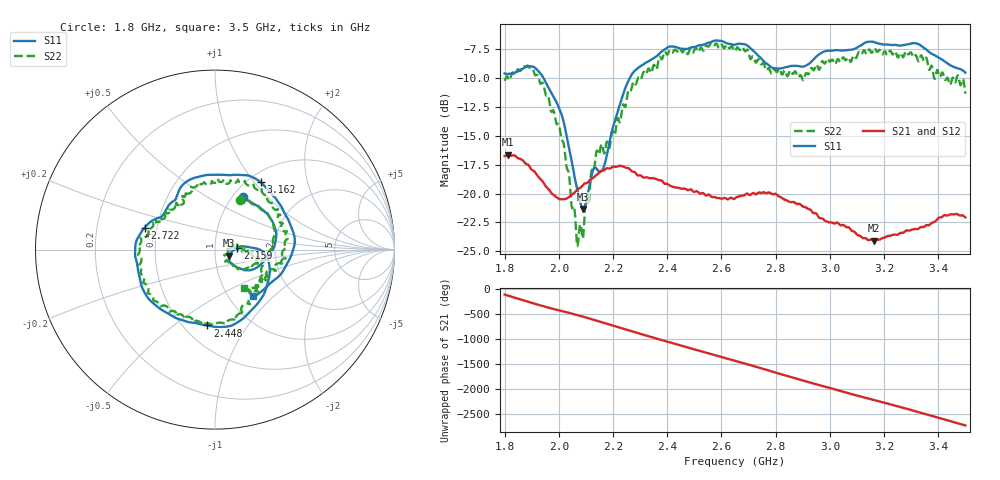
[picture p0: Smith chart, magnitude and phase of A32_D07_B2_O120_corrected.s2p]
! Created with skrf 1.9.0 (http://scikit-rf.org).
# Hz S RI R 50.0
!freq ReS11 ImS11 ReS21 ImS21 ReS12 ImS12 ReS22 ImS22
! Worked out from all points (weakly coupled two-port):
!   1601 points, 1.8 GHz to 3.5 GHz, reference 50 ohm
!   highest |S21| = -16.64 dB at 1.812 GHz (marker M1); lowest = -24.1 dB at 3.162 GHz (marker M2)
!   lowest |S11| = -21.3 dB at 2.09 GHz (marker M3), VSWR 1.19, Z = 58.5 - j3.92 ohm
!   |S11| at or under -10 dB: 1.944 GHz to 2.261 GHz (317.7 MHz wide, 15.1 % of centre)
!   |S22| runs from -24.6 to -7.0 dB; largest |S21 - S12| = 0.0027
!   S11 on the Smith chart (normalised r, x): 1.8 GHz: 1.12, +0.73; 2.159 GHz: 1.29, +0.02; 2.448 GHz: 0.65, -0.67; 2.722 GHz: 0.43, +0.13; 3.162 GHz: 1.14, +1.08; 3.5 GHz: 1.28, -0.75
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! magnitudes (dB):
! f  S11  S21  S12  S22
! 1.8 GHz  -9.6  -16.8  -16.8  -10.2
! 1.812 GHz  -9.6  -16.6  -16.6  -9.9
! 1.883 GHz  -9.0  -17.5  -17.5  -8.9
! 1.941 GHz  -9.9  -19.0  -19.0  -10.4
! 2.011 GHz  -13.2  -20.5  -20.5  -15.4
! 2.066 GHz  -19.4  -19.7  -19.7  -24.1
! 2.084 GHz  -21.1  -19.4  -19.4  -23.1
! 2.09 GHz  -21.3  -19.2  -19.3  -23.7
! 2.127 GHz  -17.9  -18.6  -18.6  -18.1
! 2.159 GHz  -18.0  -18.0  -18.0  -15.7
! 2.188 GHz  -15.4  -17.8  -17.8  -16.0
! 2.258 GHz  -10.2  -17.8  -17.8  -11.0
! 2.367 GHz  -8.0  -18.8  -18.8  -8.5
! 2.448 GHz  -7.4  -19.6  -19.6  -7.4
! 2.65 GHz  -7.1  -20.4  -20.4  -7.7
! 2.722 GHz  -7.7  -20.0  -19.9  -8.4
! 2.796 GHz  -9.1  -20.0  -20.0  -9.2
! 2.934 GHz  -8.5  -21.6  -21.5  -9.1
! 3.162 GHz  -6.9  -24.1  -24.0  -7.5
! 3.217 GHz  -7.1  -23.7  -23.6  -7.8
! 3.324 GHz  -7.0  -23.1  -23.0  -8.4
! 3.5 GHz  -9.5  -22.1  -22.0  -11.4
